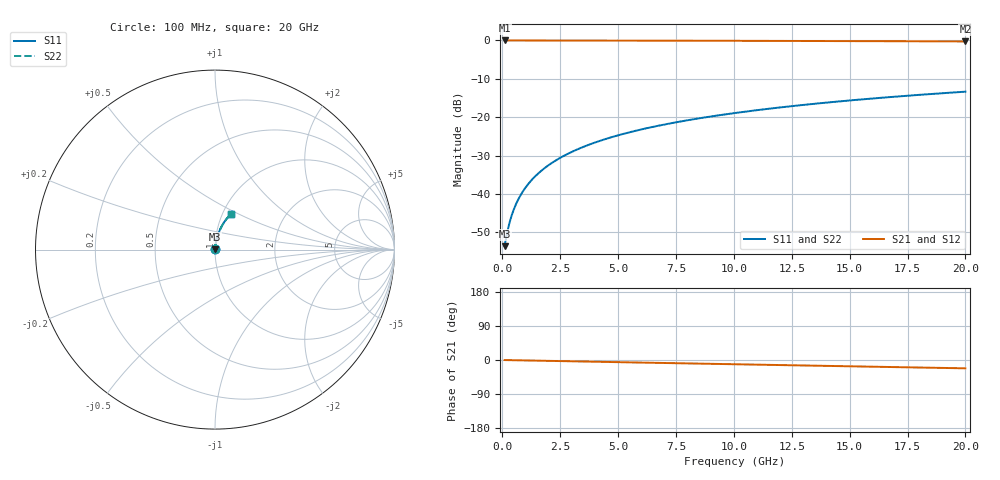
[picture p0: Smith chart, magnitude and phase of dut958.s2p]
! Touchstone file exported from HFSS 2026.1.0
!  File:  C:/ffzhzh/LocalFiles/Ansys_Project_Files/temp_train_TMRDL_958_1783158803_18472.aedt
!  Generated:  05:54:36 PM Jul  4, 2026
!  Design:  TMRDL
!  Project:  temp_train_TMRDL_958_1783158803_18472
! Variables:
!  h_bsmrdl = 2um
!  h_ox = 20um
!  h_rdl = 5um
!  h_sub = 80um
!  h_tmrdl = 4.58um
!  h_tsv = 80um
!  h_via = 3um
!  l_bsmrdl = 300um
!  l_sub = 702.82um
!  l_tmrdl = 302.82um
!  m_sub = 200um
!  pitch = 36.84um
!  r_tsv = 6um
!  s_tmrdl = 10um
!  w_bsmrdl = 18um
!  w_sub = 500um
!  w_tmrdl = 15.27um
!  x_tsv_center1 = 310.455um
!  x_tsv_center2 = 628.455um
!  x_tsv_center3 = 946.545um
!  x_tsv_center4 = 1264.545um
!  x_tsv_center5 = 1582.635um
!  x_tsv_center6 = 1900.635um
# GHz S MA R 50.000000
! Terminal data exported
! Port[1] = TM_RDL1_1_T1
! Port[2] = TM_RDL1_1_T2
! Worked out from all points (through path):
!   200 points, 100 MHz to 20 GHz, reference 50 ohm
!   highest |S21| = -0.01 dB at 100 MHz (marker M1); lowest = -0.3 dB at 20 GHz (marker M2)
!   group delay of S21, straight-line fit = 3.05 ps
!   lowest |S11| = -53.6 dB at 100 MHz (marker M3), VSWR 1.00, Z = 50.2 + j0.127 ohm
!   |S11| at or under -10 dB: start of sweep to end of sweep
!   |S22| runs from -53.6 to -13.4 dB; largest |S21 - S12| = 4.1e-15
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0.1  0.002092 37.3  0.9983 -0.1  0.9983 -0.1  0.002092 37.3
! Gamma 0 0 0 0
! Port Impedance 50 0 50 0
0.2  0.00304 55.2  0.9983 -0.2  0.9983 -0.2  0.003041 55.2
0.3  0.004108 63.9  0.9982 -0.4  0.9982 -0.4  0.004109 63.9
0.4  0.005211 69.0  0.9981 -0.5  0.9981 -0.5  0.005212 69.0
0.5  0.006333 72.3  0.9981 -0.6  0.9981 -0.6  0.006334 72.3
0.6  0.007469 74.6  0.9981 -0.7  0.9981 -0.7  0.007469 74.6
0.8  0.009765 77.6  0.998 -0.9  0.998 -0.9  0.009765 77.6
1.1  0.01324 80.0  0.9979 -1.3  0.9979 -1.3  0.01324 80.0
1.5  0.01791 81.5  0.9977 -1.7  0.9977 -1.7  0.01791 81.5
1.8  0.02141 82.0  0.9976 -2.1  0.9976 -2.1  0.02141 82.0
2.1  0.0249 82.3  0.9974 -2.4  0.9974 -2.4  0.0249 82.3
2.7  0.03187 82.4  0.997 -3.1  0.997 -3.1  0.03186 82.4
3.5  0.04107 82.0  0.9963 -4.0  0.9963 -4.0  0.04107 82.0
4.2  0.04905 81.5  0.9957 -4.8  0.9957 -4.8  0.04905 81.5
5  0.05808 80.9  0.9948 -5.7  0.9948 -5.7  0.05808 80.9
5.9  0.06814 80.1  0.9938 -6.7  0.9938 -6.7  0.06814 80.0
6.8  0.07811 79.2  0.9927 -7.7  0.9927 -7.7  0.07811 79.2
8.3  0.09452 77.8  0.9908 -9.4  0.9908 -9.4  0.09452 77.7
10.1  0.1139 76.0  0.9882 -11.3  0.9882 -11.3  0.1139 76.0
13.4  0.1487 72.7  0.9827 -14.9  0.9827 -14.9  0.1487 72.7
16.7  0.1824 69.4  0.9764 -18.5  0.9764 -18.5  0.1824 69.4
20  0.2149 66.1  0.9692 -22.0  0.9692 -22.0  0.2149 66.1
